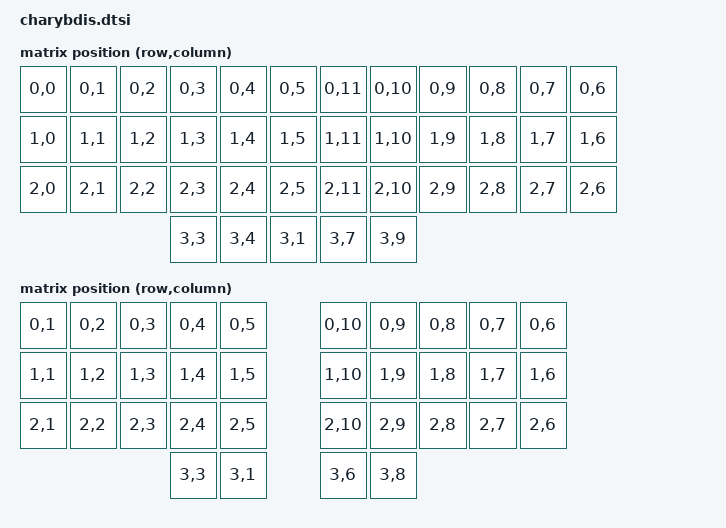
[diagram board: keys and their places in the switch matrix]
#include <dt-bindings/zmk/matrix_transform.h>

/ {
    esb_link {
        compatible = "zmk,split-esb";
        base-address = [E7 E7 E7 E7];
        /* FHSS across the guard gaps between WiFi channels 1/6/11 */
        hop-channels = /bits/ 8 <24 25 49 50 74 75 76 77 78 79 80>;
        peripherals {
            right: peripheral_right {
                pipe = <0>;
                prefix = <0xE7>;
                weight = <1>;
            };
            left: peripheral_left {
                pipe = <1>;
                prefix = <0xC3>;
                weight = <1>;
            };
        };
    };

    chosen {
        zmk,kscan = &kscan0;
        zmk,matrix_transform = &default_transform;
    };

    default_transform: keymap_transform_0 {
        compatible = "zmk,matrix-transform";
        columns = <12>;
        rows = <4>;

        map = <
	RC(0,0) RC(0,1) RC(0,2) RC(0,3) RC(0,4) RC(0,5)  RC(0,11) RC(0,10) RC(0,9) RC(0,8) RC(0,7) RC(0,6)
	RC(1,0) RC(1,1) RC(1,2) RC(1,3) RC(1,4) RC(1,5)  RC(1,11) RC(1,10) RC(1,9) RC(1,8) RC(1,7) RC(1,6)
	RC(2,0) RC(2,1) RC(2,2) RC(2,3) RC(2,4) RC(2,5)  RC(2,11) RC(2,10) RC(2,9) RC(2,8) RC(2,7) RC(2,6)
							RC(3,3) RC(3,4) RC(3,1)  RC(3,7)  RC(3,9)
        >;
    };

    five_column_transform: keymap_transform_1 {
        compatible = "zmk,matrix-transform";
        columns = <10>;
        rows = <4>;

        map = <
	RC(0,1) RC(0,2) RC(0,3) RC(0,4) RC(0,5)  RC(0,10) RC(0,9) RC(0,8) RC(0,7) RC(0,6)
	RC(1,1) RC(1,2) RC(1,3) RC(1,4) RC(1,5)  RC(1,10) RC(1,9) RC(1,8) RC(1,7) RC(1,6)
	RC(2,1) RC(2,2) RC(2,3) RC(2,4) RC(2,5)  RC(2,10) RC(2,9) RC(2,8) RC(2,7) RC(2,6)
					RC(3,3) RC(3,1)  RC(3,6)  RC(3,8)
        >;
    };
	
    kscan0: kscan {
        diode-direction = "row2col";
        };
};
